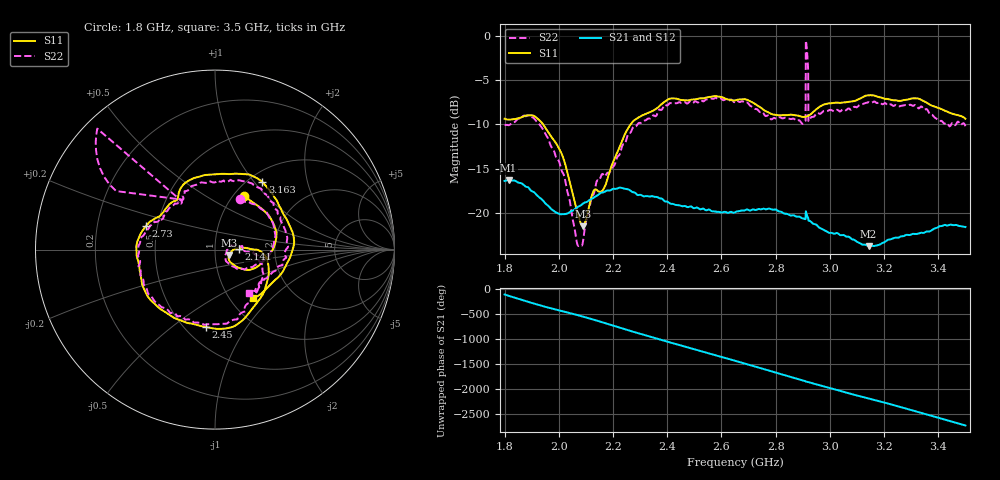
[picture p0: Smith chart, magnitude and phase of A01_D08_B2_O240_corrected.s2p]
! Created with skrf 1.9.0 (http://scikit-rf.org).
# Hz S RI R 50.0
!freq ReS11 ImS11 ReS21 ImS21 ReS12 ImS12 ReS22 ImS22
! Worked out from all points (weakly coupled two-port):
!   1601 points, 1.8 GHz to 3.5 GHz, reference 50 ohm
!   highest |S21| = -16.30 dB at 1.815 GHz (marker M1); lowest = -23.7 dB at 3.143 GHz (marker M2)
!   lowest |S11| = -21.5 dB at 2.09 GHz (marker M3), VSWR 1.18, Z = 58.5 - j3.44 ohm
!   |S11| at or under -10 dB: 1.942 GHz to 2.265 GHz (322.8 MHz wide, 15.3 % of centre)
!   |S22| runs from -23.7 to -0.5 dB; largest |S21 - S12| = 0.0032
!   S11 on the Smith chart (normalised r, x): 1.8 GHz: 1.12, +0.76; 2.141 GHz: 1.31, +0.01; 2.45 GHz: 0.63, -0.67; 2.73 GHz: 0.43, +0.13; 3.163 GHz: 1.15, +1.10; 3.5 GHz: 1.27, -0.77
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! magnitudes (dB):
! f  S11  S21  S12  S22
! 1.8 GHz  -9.4  -16.4  -16.4  -10.0
! 1.815 GHz  -9.5  -16.3  -16.3  -10.1
! 1.888 GHz  -9.0  -17.1  -17.2  -9.0
! 1.94 GHz  -9.9  -18.5  -18.5  -10.5
! 2.013 GHz  -13.5  -20.1  -20.1  -15.4
! 2.067 GHz  -19.7  -19.4  -19.4  -23.3
! 2.084 GHz  -21.3  -19.1  -19.0  -23.7
! 2.09 GHz  -21.5  -18.9  -19.0  -23.0
! 2.141 GHz  -17.4  -18.0  -18.0  -16.3
! 2.266 GHz  -9.9  -17.5  -17.5  -10.8
! 2.367 GHz  -8.1  -18.3  -18.2  -8.5
! 2.45 GHz  -7.2  -19.2  -19.2  -7.6
! 2.65 GHz  -7.3  -19.9  -19.9  -7.5
! 2.73 GHz  -7.8  -19.6  -19.7  -8.3
! 2.902 GHz  -9.2  -20.6  -20.6  -9.9
! 2.911 GHz  -9.1  -19.8  -19.8  -0.5
! 2.92 GHz  -9.0  -20.5  -20.5  -3.9
! 2.934 GHz  -8.7  -21.1  -21.1  -9.1
! 3.143 GHz  -6.7  -23.7  -23.7  -7.5
! 3.163 GHz  -6.7  -23.7  -23.7  -7.4
! 3.217 GHz  -7.2  -23.0  -23.0  -7.8
! 3.5 GHz  -9.4  -21.6  -21.6  -10.2
